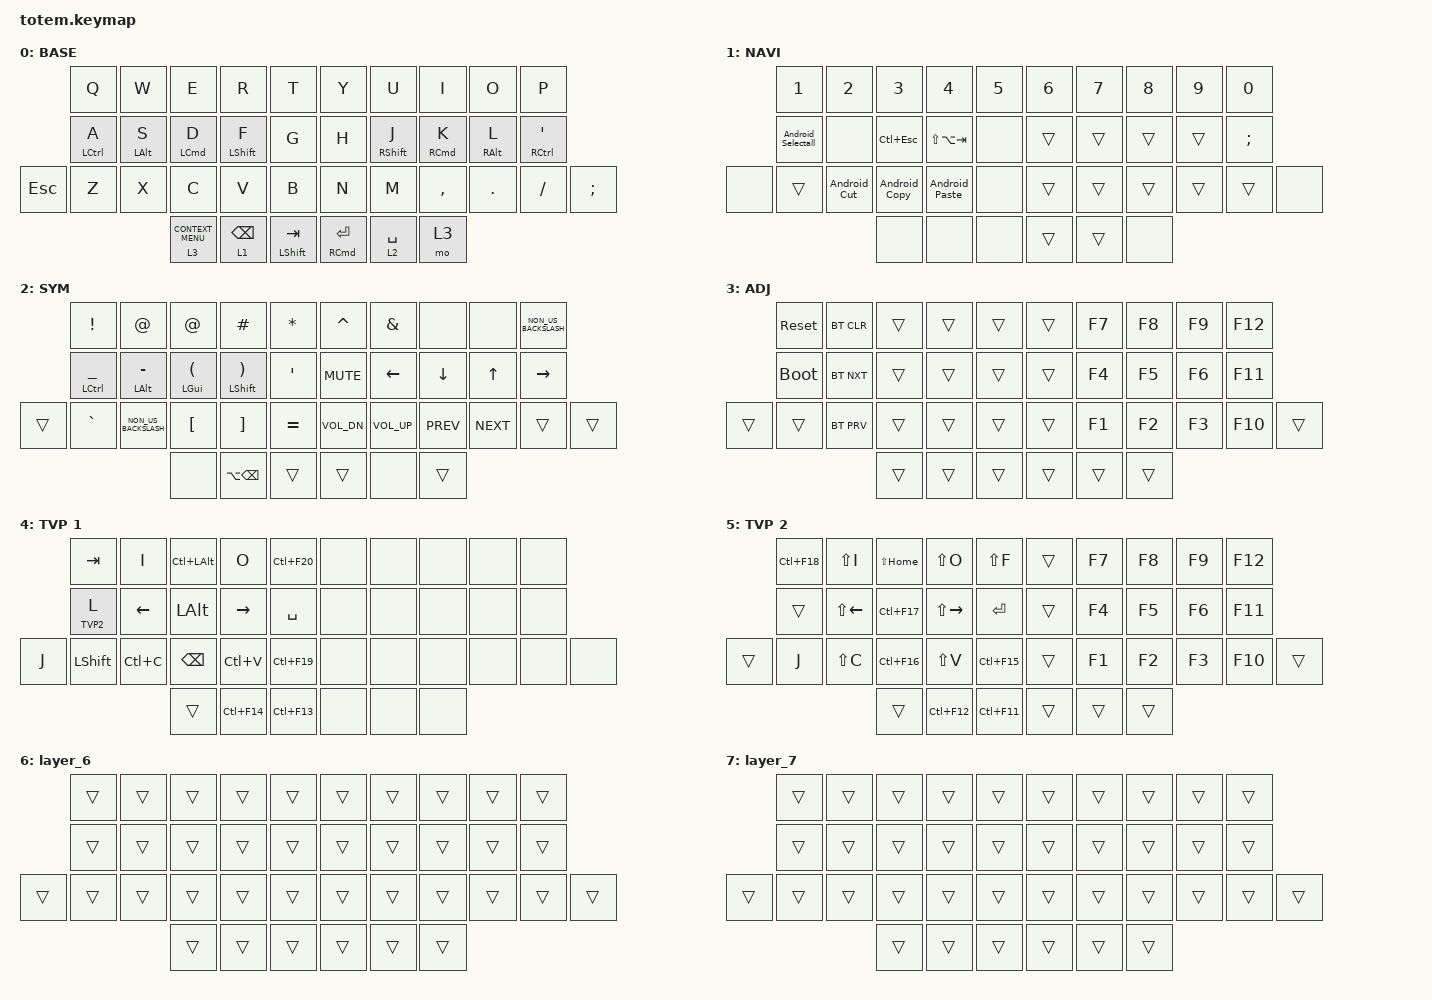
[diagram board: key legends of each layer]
//
//                                                        ▀▀▀▀▀     ▀▀▀▀▀          ▀▀█▀▀
//                                                        ▄▀▀▀▄  ▄  ▄▀▀▀▄  ▄  ▄▀▀▀▄  █  ▄▀▀▀▄
//                                                        █   █  █  █   █  █  █   █  █  █   █
//                                                         ▀▀▀   █   ▀▀▀   █   ▀▀▀   ▀   ▀▀▀
//                                                               █      ▄▄▄█▄▄▄    █   █  
//                                                               ▀      █  █  █     █▄█
//                                                             ▀▀▀▀▀    █  █  █      ▀
//                                                                      ▀  ▀  ▀
//
// ▄▄▄▄▄▄▄▄▄▄▄▄▄▄▄▄▄▄▄▄▄▄▄▄▄▄▄▄▄▄▄▄▄▄▄▄▄▄▄▄▄▄▄▄▄▄▄▄▄▄▄▄▄▄▄▄▄▄▄▄▄▄▄▄▄▄▄▄▄▄▄▄▄▄▄▄▄▄▄▄▄▄▄▄▄▄▄▄▄▄▄▄▄▄▄▄▄▄▄▄▄▄▄▄▄▄▄▄▄▄▄▄▄▄▄▄▄▄▄▄▄▄▄▄▄▄▄▄▄▄▄▄▄▄▄▄▄▄▄▄▄▄▄▄▄▄▄▄▄

#include <behaviors.dtsi>
#include <dt-bindings/zmk/bt.h>
#include <dt-bindings/zmk/keys.h>

#define BASE 0
#define NAV  1
#define SYM  2
#define ADJ  3
#define TVP1 4
#define TVP2 5

&mt {
    quick-tap-ms = <100>;
    global-quick-tap;
    flavor = "tap-preferred";
    tapping-term-ms = <170>;
};

/ {
    combos {
        compatible = "zmk,combos";

        combo_esc {
            timeout-ms = <50>;
            key-positions = <1 3 2>;
            bindings = <&kp ESC>;
        };

        combo_tvp {
            timeout-ms = <100>;
            key-positions = <11 12 13>;
            bindings = <&kp ENTER>;
        };

        Space {
            bindings = <&kp SPACE>;
            key-positions = <22 23 24>;
        };
    };

    macros {
        Android_Copy: Android_Copy {
            compatible = "zmk,behavior-macro";
            #binding-cells = <0>;
            bindings =
                <&macro_press>,
                <&kp K_CONTEXT_MENU>,
                <&macro_tap>,
                <&kp C>;

            label = "ANDROID_COPY";
        };

        Android_Paste: Android_Paste {
            compatible = "zmk,behavior-macro";
            #binding-cells = <0>;
            bindings =
                <&macro_press>,
                <&kp K_CONTEXT_MENU>,
                <&macro_press>,
                <&kp V>;

            label = "ANDROID_PASTE";
        };

        Android_Cut: Android_Cut {
            compatible = "zmk,behavior-macro";
            #binding-cells = <0>;
            bindings =
                <&macro_press>,
                <&kp K_CONTEXT_MENU>,
                <&macro_press>,
                <&kp X>;

            label = "ANDROID_CUT";
        };

        Android_Selectall: Android_Selectall {
            compatible = "zmk,behavior-macro";
            #binding-cells = <0>;
            bindings =
                <&macro_press>,
                <&kp K_CONTEXT_MENU>,
                <&macro_press>,
                <&kp A>;

            label = "ANDROID_SELECTALL";
        };
    };

    keymap {
        compatible = "zmk,keymap";

        // ▄▄▄▄▄▄▄▄▄▄▄▄▄▄▄▄▄▄▄▄▄▄▄▄▄▄▄▄▄▄▄▄▄▄▄▄▄▄▄▄▄▄▄▄▄▄▄▄▄▄▄▄▄▄▄▄▄▄▄▄▄▄▄▄▄▄▄▄▄▄▄▄▄▄▄▄▄▄▄▄▄▄▄▄▄▄▄▄▄▄▄▄▄▄▄▄▄▄▄▄▄▄▄▄▄▄▄▄▄▄▄▄▄▄▄▄▄▄▄▄▄▄▄▄▄▄▄▄▄▄▄▄▄▄▄▄▄▄▄▄▄▄▄▄▄▄▄▄▄

        base_layer {
            // ┏━━━━━━━━━━━━━━━━━━━━━━━━━━━━━━━━━━━━━━━┓

            label = "BASE";

            // ┗━━━━━━━━━━━━━━━━━━━━━━━━━━━━━━━━━━━━━━━┛
            //             ┏━━━━━━━━━━━┳━━━━━━━━━━━┳━━━━━━━━━━━┳━━━━━━━━━━━┳━━━━━━━━━━━┓   ┏━━━━━━━━━━━┳━━━━━━━━━━━┳━━━━━━━━━━━┳━━━━━━━━━━━┳━━━━━━━━━━━┓
            //             ┃     Q     ┃     W     ┃     F     ┃     P     ┃     G     ┃   ┃     J     ┃     L     ┃     U     ┃     Y     ┃     ;     ┃
            //             ┣━━━━━━━━━━━╋━━━━━━━━━━━╋━━━━━━━━━━━╋━━━━━━━━━━━╋━━━━━━━━━━━┫   ┣━━━━━━━━━━━╋━━━━━━━━━━━╋━━━━━━━━━━━╋━━━━━━━━━━━╋━━━━━━━━━━━┫
            //             ┃     A     ┃     R     ┃     S     ┃     T     ┃     D     ┃   ┃     H     ┃     N     ┃     E     ┃     I     ┃     O     ┃
            // ┏━━━━━━━━━━━╋━━━━━━━━━━━╋━━━━━━━━━━━╋━━━━━━━━━━━╋━━━━━━━━━━━╋━━━━━━━━━━━┫   ┣━━━━━━━━━━━╋━━━━━━━━━━━╋━━━━━━━━━━━╋━━━━━━━━━━━╋━━━━━━━━━━━╋━━━━━━━━━━━┓
            // ┃     Q     ┃     Z     ┃     X     ┃     C     ┃     V     ┃     B     ┃   ┃     K     ┃     M     ┃     ,     ┃     .     ┃     /     ┃     \     ┃
            // ┗━━━━━━━━━━━┻━━━━━━━━━━━┻━━━━━━━━━━━╋━━━━━━━━━━━╋━━━━━━━━━━━╋━━━━━━━━━━━┫   ┣━━━━━━━━━━━╋━━━━━━━━━━━╋━━━━━━━━━━━╋━━━━━━━━━━━┻━━━━━━━━━━━┻━━━━━━━━━━━┛
            //                                     ┃    DEL    ┃    TAB    ┃    SPC    ┃   ┃   ENTER   ┃           ┃   BSPC    ┃
            //                                     ┗━━━━━━━━━━━┻━━━━━━━━━━━┻━━━━━━━━━━━┛   ┗━━━━━━━━━━━┻━━━━━━━━━━━┻━━━━━━━━━━━┛

            bindings = <
            &kp Q               &kp W           &kp E                 &kp R             &kp T                 &kp Y                    &kp U              &kp I                &kp O            &kp P
            &mt LEFT_CONTROL A  &mt LEFT_ALT S  &mt LEFT_COMMAND D    &mt LEFT_SHIFT F  &kp G                 &kp H                    &mt RIGHT_SHIFT J  &mt RIGHT_COMMAND K  &mt RIGHT_ALT L  &mt RIGHT_CONTROL SQT
&kp ESCAPE  &kp Z               &kp X           &kp C                 &kp V             &kp B                 &kp N                    &kp M              &kp COMMA            &kp DOT          &kp FSLH               &kp SEMICOLON
                                                &lt 3 K_CONTEXT_MENU  &lt 1 BACKSPACE   &mt LEFT_SHIFT TAB    &mt RIGHT_COMMAND ENTER  &lt 2 SPACE        &mo 3
            >;
        };

        // ▄▄▄▄▄▄▄▄▄▄▄▄▄▄▄▄▄▄▄▄▄▄▄▄▄▄▄▄▄▄▄▄▄▄▄▄▄▄▄▄▄▄▄▄▄▄▄▄▄▄▄▄▄▄▄▄▄▄▄▄▄▄▄▄▄▄▄▄▄▄▄▄▄▄▄▄▄▄▄▄▄▄▄▄▄▄▄▄▄▄▄▄▄▄▄▄▄▄▄▄▄▄▄▄▄▄▄▄▄▄▄▄▄▄▄▄▄▄▄▄▄▄▄▄▄▄▄▄▄▄▄▄▄▄▄▄▄▄▄▄▄▄▄▄▄▄▄▄▄

        nav_layer {
            // ┏━━━━━━━━━━━━━━━━━━━━━━━━━━━━━━━━━━━━━━━┓

            label = "NAVI";

            // ┗━━━━━━━━━━━━━━━━━━━━━━━━━━━━━━━━━━━━━━━┛
            //             ┏━━━━━━━━━━━┳━━━━━━━━━━━┳━━━━━━━━━━━┳━━━━━━━━━━━┳━━━━━━━━━━━┓   ┏━━━━━━━━━━━┳━━━━━━━━━━━┳━━━━━━━━━━━┳━━━━━━━━━━━┳━━━━━━━━━━━┓
            //             ┃           ┃           ┃     UP    ┃           ┃     {     ┃   ┃     }     ┃     7     ┃     8     ┃     9     ┃     +     ┃
            //             ┣━━━━━━━━━━━╋━━━━━━━━━━━╋━━━━━━━━━━━╋━━━━━━━━━━━╋━━━━━━━━━━━┫   ┣━━━━━━━━━━━╋━━━━━━━━━━━╋━━━━━━━━━━━╋━━━━━━━━━━━╋━━━━━━━━━━━┫
            //             ┃   SHIFT   ┃   LEFT    ┃    DOWN   ┃   RIGHT   ┃     [     ┃   ┃     ]     ┃     4     ┃     5     ┃     6     ┃     -     ┃
            // ┏━━━━━━━━━━━╋━━━━━━━━━━━╋━━━━━━━━━━━╋━━━━━━━━━━━╋━━━━━━━━━━━╋━━━━━━━━━━━┫   ┣━━━━━━━━━━━╋━━━━━━━━━━━╋━━━━━━━━━━━╋━━━━━━━━━━━╋━━━━━━━━━━━╋━━━━━━━━━━━┓
            // ┃           ┃           ┃   P UP    ┃  C LOCK   ┃  P DOWN   ┃     (     ┃   ┃     )     ┃     1     ┃     2     ┃     3     ┃     *     ┃           ┃
            // ┗━━━━━━━━━━━┻━━━━━━━━━━━┻━━━━━━━━━━━╋━━━━━━━━━━━╋━━━━━━━━━━━╋━━━━━━━━━━━┫   ┣━━━━━━━━━━━╋━━━━━━━━━━━╋━━━━━━━━━━━╋━━━━━━━━━━━┻━━━━━━━━━━━┻━━━━━━━━━━━┛
            //                                     ┃           ┃    TAB    ┃    SPC    ┃   ┃    DEL    ┃     0     ┃           ┃
            //                                     ┗━━━━━━━━━━━┻━━━━━━━━━━━┻━━━━━━━━━━━┛   ┗━━━━━━━━━━━┻━━━━━━━━━━━┻━━━━━━━━━━━┛

            bindings = <
       &kp NUMBER_1        &kp NUMBER_2  &kp NUMBER_3    &kp NUMBER_4     &kp NUMBER_5    &kp NUMBER_6  &kp N7  &kp N8  &kp NUMBER_9  &kp NUMBER_0
       &Android_Selectall  &none         &kp LC(ESCAPE)  &kp LS(LA(TAB))  &none           &trans        &trans  &trans  &trans        &kp SEMICOLON
&none  &trans              &Android_Cut  &Android_Copy   &Android_Paste   &none           &trans        &trans  &trans  &trans        &trans         &none
                                         &none           &none            &none           &trans        &trans  &none
            >;
        };

        // ▄▄▄▄▄▄▄▄▄▄▄▄▄▄▄▄▄▄▄▄▄▄▄▄▄▄▄▄▄▄▄▄▄▄▄▄▄▄▄▄▄▄▄▄▄▄▄▄▄▄▄▄▄▄▄▄▄▄▄▄▄▄▄▄▄▄▄▄▄▄▄▄▄▄▄▄▄▄▄▄▄▄▄▄▄▄▄▄▄▄▄▄▄▄▄▄▄▄▄▄▄▄▄▄▄▄▄▄▄▄▄▄▄▄▄▄▄▄▄▄▄▄▄▄▄▄▄▄▄▄▄▄▄▄▄▄▄▄▄▄▄▄▄▄▄▄▄▄▄

        sim_layer {
            // ┏━━━━━━━━━━━━━━━━━━━━━━━━━━━━━━━━━━━━━━━┓

            label = "SYM";

            // ┗━━━━━━━━━━━━━━━━━━━━━━━━━━━━━━━━━━━━━━━┛
            //             ┏━━━━━━━━━━━┳━━━━━━━━━━━┳━━━━━━━━━━━┳━━━━━━━━━━━┳━━━━━━━━━━━┓   ┏━━━━━━━━━━━┳━━━━━━━━━━━┳━━━━━━━━━━━┳━━━━━━━━━━━┳━━━━━━━━━━━┓
            //             ┃     !     ┃     @     ┃     #     ┃     $     ┃     %     ┃   ┃     ˆ     ┃     &     ┃     Ü     ┃     '     ┃     "     ┃
            //             ┣━━━━━━━━━━━╋━━━━━━━━━━━╋━━━━━━━━━━━╋━━━━━━━━━━━╋━━━━━━━━━━━┫   ┣━━━━━━━━━━━╋━━━━━━━━━━━╋━━━━━━━━━━━╋━━━━━━━━━━━╋━━━━━━━━━━━┫
            //             ┃     Ä     ┃           ┃    SZ     ┃           ┃           ┃   ┃   MUTE    ┃   YEN     ┃   EURO    ┃  POUND    ┃     Ö     ┃
            // ┏━━━━━━━━━━━╋━━━━━━━━━━━╋━━━━━━━━━━━╋━━━━━━━━━━━╋━━━━━━━━━━━╋━━━━━━━━━━━┫   ┣━━━━━━━━━━━╋━━━━━━━━━━━╋━━━━━━━━━━━╋━━━━━━━━━━━╋━━━━━━━━━━━╋━━━━━━━━━━━┓
            // ┃           ┃  EMAIL1   ┃  EMAIL2   ┃           ┃           ┃           ┃   ┃   VOL-    ┃   VOL+    ┃   LAST    ┃   NEXT    ┃     \     ┃           ┃
            // ┗━━━━━━━━━━━┻━━━━━━━━━━━┻━━━━━━━━━━━╋━━━━━━━━━━━╋━━━━━━━━━━━╋━━━━━━━━━━━┫   ┣━━━━━━━━━━━╋━━━━━━━━━━━╋━━━━━━━━━━━╋━━━━━━━━━━━┻━━━━━━━━━━━┻━━━━━━━━━━━┛
            //                                     ┃           ┃    GIF    ┃    ADJ    ┃   ┃           ┃           ┃           ┃
            //                                     ┗━━━━━━━━━━━┻━━━━━━━━━━━┻━━━━━━━━━━━┛   ┗━━━━━━━━━━━┻━━━━━━━━━━━┻━━━━━━━━━━━┛

            bindings = <
        &kp EXCL                     &kp AT                &kp AT_SIGN                    &kp HASH                          &kp ASTERISK    &kp CARET     &kp AMPS      &none       &none         &kp NON_US_BACKSLASH
        &mt LEFT_CONTROL UNDERSCORE  &mt LEFT_ALT MINUS    &mt LEFT_GUI LEFT_PARENTHESIS  &mt LEFT_SHIFT RIGHT_PARENTHESIS  &kp SQT         &kp C_MUTE    &kp LEFT      &kp DOWN    &kp UP_ARROW  &kp RIGHT
&trans  &kp GRAVE                    &kp NON_US_BACKSLASH  &kp LEFT_BRACKET               &kp RIGHT_BRACKET                 &kp EQUAL       &kp C_VOL_DN  &kp C_VOL_UP  &kp C_PREV  &kp C_NEXT    &trans                &trans
                                                           &none                          &kp LA(BACKSPACE)                 &trans          &trans        &none         &trans
            >;
        };

        // ▄▄▄▄▄▄▄▄▄▄▄▄▄▄▄▄▄▄▄▄▄▄▄▄▄▄▄▄▄▄▄▄▄▄▄▄▄▄▄▄▄▄▄▄▄▄▄▄▄▄▄▄▄▄▄▄▄▄▄▄▄▄▄▄▄▄▄▄▄▄▄▄▄▄▄▄▄▄▄▄▄▄▄▄▄▄▄▄▄▄▄▄▄▄▄▄▄▄▄▄▄▄▄▄▄▄▄▄▄▄▄▄▄▄▄▄▄▄▄▄▄▄▄▄▄▄▄▄▄▄▄▄▄▄▄▄▄▄▄▄▄▄▄▄▄▄▄▄▄

        adjust_layer {
            // ┏━━━━━━━━━━━━━━━━━━━━━━━━━━━━━━━━━━━━━━━┓

            label = "ADJ";

            // ┗━━━━━━━━━━━━━━━━━━━━━━━━━━━━━━━━━━━━━━━┛
            //             ┏━━━━━━━━━━━┳━━━━━━━━━━━┳━━━━━━━━━━━┳━━━━━━━━━━━┳━━━━━━━━━━━┓   ┏━━━━━━━━━━━┳━━━━━━━━━━━┳━━━━━━━━━━━┳━━━━━━━━━━━┳━━━━━━━━━━━┓
            //             ┃   RESET   ┃ BT CLEAR  ┃  OUT TOG  ┃           ┃           ┃   ┃           ┃    F7     ┃    F8     ┃    F9     ┃    F12    ┃
            //             ┣━━━━━━━━━━━╋━━━━━━━━━━━╋━━━━━━━━━━━╋━━━━━━━━━━━╋━━━━━━━━━━━┫   ┣━━━━━━━━━━━╋━━━━━━━━━━━╋━━━━━━━━━━━╋━━━━━━━━━━━╋━━━━━━━━━━━┫
            //             ┃ BOOTLOAD  ┃ BT NEXT   ┃           ┃           ┃           ┃   ┃           ┃    F4     ┃    F5     ┃    F6     ┃    F11    ┃
            // ┏━━━━━━━━━━━╋━━━━━━━━━━━╋━━━━━━━━━━━╋━━━━━━━━━━━╋━━━━━━━━━━━╋━━━━━━━━━━━┫   ┣━━━━━━━━━━━╋━━━━━━━━━━━╋━━━━━━━━━━━╋━━━━━━━━━━━╋━━━━━━━━━━━╋━━━━━━━━━━━┓
            // ┃           ┃           ┃ BT PREV   ┃           ┃           ┃           ┃   ┃           ┃    F1     ┃    F2     ┃    F3     ┃    F10    ┃           ┃
            // ┗━━━━━━━━━━━┻━━━━━━━━━━━┻━━━━━━━━━━━╋━━━━━━━━━━━╋━━━━━━━━━━━╋━━━━━━━━━━━┫   ┣━━━━━━━━━━━╋━━━━━━━━━━━╋━━━━━━━━━━━╋━━━━━━━━━━━┻━━━━━━━━━━━┻━━━━━━━━━━━┛
            //                                     ┃           ┃           ┃           ┃   ┃           ┃           ┃           ┃
            //                                     ┗━━━━━━━━━━━┻━━━━━━━━━━━┻━━━━━━━━━━━┛   ┗━━━━━━━━━━━┻━━━━━━━━━━━┻━━━━━━━━━━━┛

            bindings = <
        &sys_reset   &bt BT_CLR  &trans  &trans  &trans    &trans  &kp F7  &kp F8  &kp F9  &kp F12
        &bootloader  &bt BT_NXT  &trans  &trans  &trans    &trans  &kp F4  &kp F5  &kp F6  &kp F11
&trans  &trans       &bt BT_PRV  &trans  &trans  &trans    &trans  &kp F1  &kp F2  &kp F3  &kp F10  &trans
                                 &trans  &trans  &trans    &trans  &trans  &trans
            >;
        };

        // ▄▄▄▄▄▄▄▄▄▄▄▄▄▄▄▄▄▄▄▄▄▄▄▄▄▄▄▄▄▄▄▄▄▄▄▄▄▄▄▄▄▄▄▄▄▄▄▄▄▄▄▄▄▄▄▄▄▄▄▄▄▄▄▄▄▄▄▄▄▄▄▄▄▄▄▄▄▄▄▄▄▄▄▄▄▄▄▄▄▄▄▄▄▄▄▄▄▄▄▄▄▄▄▄▄▄▄▄▄▄▄▄▄▄▄▄▄▄▄▄▄▄▄▄▄▄▄▄▄▄▄▄▄▄▄▄▄▄▄▄▄▄▄▄▄▄▄▄▄

        tvp1_layer {
            // ┏━━━━━━━━━━━━━━━━━━━━━━━━━━━━━━━━━━━━━━━┓

            label = "TVP 1";

            // ┗━━━━━━━━━━━━━━━━━━━━━━━━━━━━━━━━━━━━━━━┛
            //             ┏━━━━━━━━━━━┳━━━━━━━━━━━┳━━━━━━━━━━━┳━━━━━━━━━━━┳━━━━━━━━━━━┓   ┏━━━━━━━━━━━┳━━━━━━━━━━━┳━━━━━━━━━━━┳━━━━━━━━━━━┳━━━━━━━━━━━┓
            //             ┃ NEXT FILE ┃ MARK IN   ┃ ROTATE    ┃ MARK OUT  ┃ SHOW SNAP ┃   ┃           ┃           ┃           ┃           ┃           ┃
            //             ┣━━━━━━━━━━━╋━━━━━━━━━━━╋━━━━━━━━━━━╋━━━━━━━━━━━╋━━━━━━━━━━━┫   ┣━━━━━━━━━━━╋━━━━━━━━━━━╋━━━━━━━━━━━╋━━━━━━━━━━━╋━━━━━━━━━━━┫
            //             ┃ TVP II    ┃ LEFT      ┃ PAN       ┃ RIGHT     ┃ PLAY/FLIP ┃   ┃           ┃           ┃           ┃           ┃           ┃
            // ┏━━━━━━━━━━━╋━━━━━━━━━━━╋━━━━━━━━━━━╋━━━━━━━━━━━╋━━━━━━━━━━━╋━━━━━━━━━━━┫   ┣━━━━━━━━━━━╋━━━━━━━━━━━╋━━━━━━━━━━━╋━━━━━━━━━━━╋━━━━━━━━━━━╋━━━━━━━━━━━┓
            // ┃ FULLSCR   ┃ SHIFT     ┃ COPY      ┃ DELETE    ┃ PASTE     ┃ IMG MARK  ┃   ┃           ┃           ┃           ┃           ┃           ┃           ┃
            // ┗━━━━━━━━━━━┻━━━━━━━━━━━┻━━━━━━━━━━━╋━━━━━━━━━━━╋━━━━━━━━━━━╋━━━━━━━━━━━┫   ┣━━━━━━━━━━━╋━━━━━━━━━━━╋━━━━━━━━━━━╋━━━━━━━━━━━┻━━━━━━━━━━━┻━━━━━━━━━━━┛
            //                                     ┃           ┃ UNDO/SAVE ┃  SEL/MOV  ┃   ┃           ┃           ┃           ┃
            //                                     ┗━━━━━━━━━━━┻━━━━━━━━━━━┻━━━━━━━━━━━┛   ┗━━━━━━━━━━━┻━━━━━━━━━━━┻━━━━━━━━━━━┛

            bindings = <
       &kp TAB     &kp I      &kp LC(LALT)  &kp O        &kp LC(F20)    &none  &none  &none  &none  &none
       &lt TVP2 L  &kp LEFT   &kp LALT      &kp RIGHT    &kp SPACE      &none  &none  &none  &none  &none
&kp J  &kp LSHFT   &kp LC(C)  &kp BSPC      &kp LC(V)    &kp LC(F19)    &none  &none  &none  &none  &none  &none
                              &trans        &kp LC(F14)  &kp LC(F13)    &none  &none  &none
            >;
        };

        // ▄▄▄▄▄▄▄▄▄▄▄▄▄▄▄▄▄▄▄▄▄▄▄▄▄▄▄▄▄▄▄▄▄▄▄▄▄▄▄▄▄▄▄▄▄▄▄▄▄▄▄▄▄▄▄▄▄▄▄▄▄▄▄▄▄▄▄▄▄▄▄▄▄▄▄▄▄▄▄▄▄▄▄▄▄▄▄▄▄▄▄▄▄▄▄▄▄▄▄▄▄▄▄▄▄▄▄▄▄▄▄▄▄▄▄▄▄▄▄▄▄▄▄▄▄▄▄▄▄▄▄▄▄▄▄▄▄▄▄▄▄▄▄▄▄▄▄▄▄

        tvp2_layer {
            // ┏━━━━━━━━━━━━━━━━━━━━━━━━━━━━━━━━━━━━━━━┓

            label = "TVP 2";

            // ┗━━━━━━━━━━━━━━━━━━━━━━━━━━━━━━━━━━━━━━━┛
            //             ┏━━━━━━━━━━━┳━━━━━━━━━━━┳━━━━━━━━━━━┳━━━━━━━━━━━┳━━━━━━━━━━━┓   ┏━━━━━━━━━━━┳━━━━━━━━━━━┳━━━━━━━━━━━┳━━━━━━━━━━━┳━━━━━━━━━━━┓
            //             ┃ SOLO      ┃ TOGGLE IN ┃ RESET ROT ┃ TOGGLE OUT┃ TAKE SNAP ┃   ┃           ┃           ┃           ┃           ┃           ┃
            //             ┣━━━━━━━━━━━╋━━━━━━━━━━━╋━━━━━━━━━━━╋━━━━━━━━━━━╋━━━━━━━━━━━┫   ┣━━━━━━━━━━━╋━━━━━━━━━━━╋━━━━━━━━━━━╋━━━━━━━━━━━╋━━━━━━━━━━━┫
            //             ┃ ---       ┃ LAST KEY  ┃ NEW KEY   ┃ NEXT KEY  ┃ ENTER     ┃   ┃           ┃           ┃           ┃           ┃           ┃
            // ┏━━━━━━━━━━━╋━━━━━━━━━━━╋━━━━━━━━━━━╋━━━━━━━━━━━╋━━━━━━━━━━━╋━━━━━━━━━━━┫   ┣━━━━━━━━━━━╋━━━━━━━━━━━╋━━━━━━━━━━━╋━━━━━━━━━━━╋━━━━━━━━━━━╋━━━━━━━━━━━┓
            // ┃           ┃ FULLSCR   ┃ CPY2BRUSH ┃ DEL HEAD  ┃ PSTinPLACE┃ BOOK MARK ┃   ┃           ┃           ┃           ┃           ┃           ┃           ┃
            // ┗━━━━━━━━━━━┻━━━━━━━━━━━┻━━━━━━━━━━━╋━━━━━━━━━━━╋━━━━━━━━━━━╋━━━━━━━━━━━┫   ┣━━━━━━━━━━━╋━━━━━━━━━━━╋━━━━━━━━━━━╋━━━━━━━━━━━┻━━━━━━━━━━━┻━━━━━━━━━━━┛
            //                                     ┃           ┃ REDO/SAV1 ┃TRANS/WARP ┃   ┃           ┃           ┃           ┃
            //                                     ┗━━━━━━━━━━━┻━━━━━━━━━━━┻━━━━━━━━━━━┛   ┗━━━━━━━━━━━┻━━━━━━━━━━━┻━━━━━━━━━━━┛

            bindings = <
        &kp LC(F18)  &kp LS(I)     &kp LS(HOME)  &kp LS(O)      &kp LS(F)      &trans  &kp F7  &kp F8  &kp F9  &kp F12
        &trans       &kp LS(LEFT)  &kp LC(F17)   &kp LS(RIGHT)  &kp RET        &trans  &kp F4  &kp F5  &kp F6  &kp F11
&trans  &kp J        &kp LS(C)     &kp LC(F16)   &kp LS(V)      &kp LC(F15)    &trans  &kp F1  &kp F2  &kp F3  &kp F10  &trans
                                   &trans        &kp LC(F12)    &kp LC(F11)    &trans  &trans  &trans
            >;
        };

        layer_6 {
            bindings = <
        &trans  &trans  &trans  &trans  &trans    &trans  &trans  &trans  &trans  &trans
        &trans  &trans  &trans  &trans  &trans    &trans  &trans  &trans  &trans  &trans
&trans  &trans  &trans  &trans  &trans  &trans    &trans  &trans  &trans  &trans  &trans  &trans
                        &trans  &trans  &trans    &trans  &trans  &trans
            >;
        };

        layer_7 {
            bindings = <
        &trans  &trans  &trans  &trans  &trans    &trans  &trans  &trans  &trans  &trans
        &trans  &trans  &trans  &trans  &trans    &trans  &trans  &trans  &trans  &trans
&trans  &trans  &trans  &trans  &trans  &trans    &trans  &trans  &trans  &trans  &trans  &trans
                        &trans  &trans  &trans    &trans  &trans  &trans
            >;
        };
    };
};
